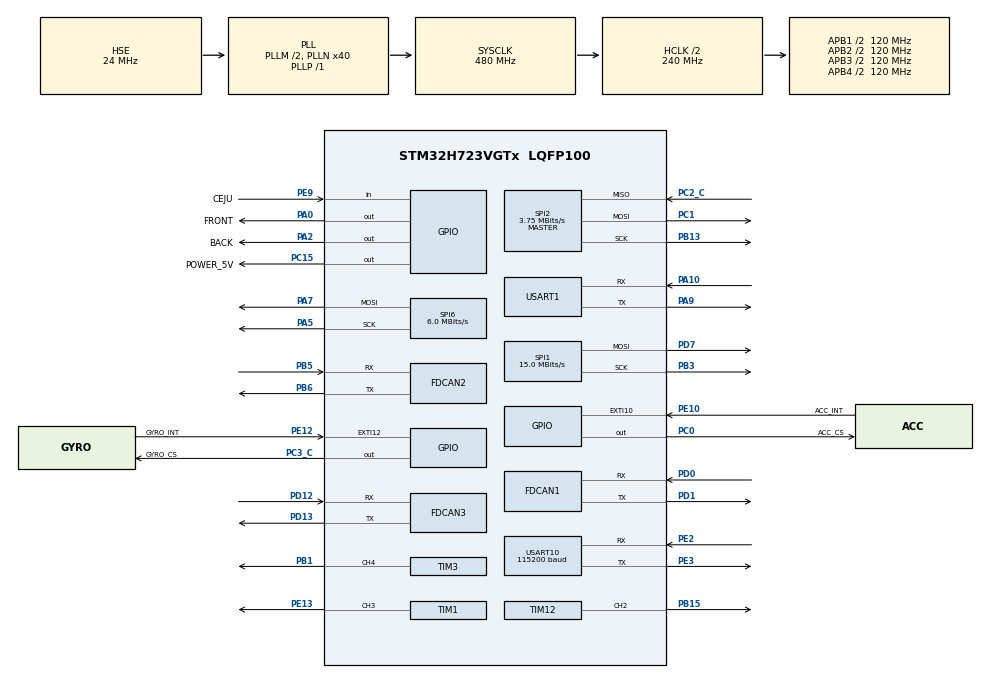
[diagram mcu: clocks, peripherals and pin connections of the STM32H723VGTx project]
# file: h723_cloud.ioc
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CORTEX_M7.default_mode_Activation=0
Dma.Request0=USART10_TX
Dma.Request1=USART1_RX
Dma.Request2=USART1_TX
Dma.Request3=SPI2_RX
Dma.Request4=SPI2_TX
Dma.SPI2_RX.3.Direction=DMA_PERIPH_TO_MEMORY
Dma.SPI2_RX.3.EventEnable=DISABLE
Dma.SPI2_RX.3.FIFOMode=DMA_FIFOMODE_DISABLE
Dma.SPI2_RX.3.Instance=DMA1_Stream2
Dma.SPI2_RX.3.MemDataAlignment=DMA_MDATAALIGN_BYTE
Dma.SPI2_RX.3.MemInc=DMA_MINC_ENABLE
Dma.SPI2_RX.3.Mode=DMA_NORMAL
Dma.SPI2_RX.3.PeriphDataAlignment=DMA_PDATAALIGN_BYTE
Dma.SPI2_RX.3.PeriphInc=DMA_PINC_DISABLE
Dma.SPI2_RX.3.Polarity=HAL_DMAMUX_REQ_GEN_RISING
Dma.SPI2_RX.3.Priority=DMA_PRIORITY_VERY_HIGH
Dma.SPI2_RX.3.RequestNumber=1
Dma.SPI2_RX.3.SignalID=NONE
Dma.SPI2_RX.3.SyncEnable=DISABLE
Dma.SPI2_RX.3.SyncPolarity=HAL_DMAMUX_SYNC_NO_EVENT
Dma.SPI2_RX.3.SyncRequestNumber=1
Dma.SPI2_RX.3.SyncSignalID=NONE
Dma.SPI2_TX.4.Direction=DMA_MEMORY_TO_PERIPH
Dma.SPI2_TX.4.EventEnable=DISABLE
Dma.SPI2_TX.4.FIFOMode=DMA_FIFOMODE_DISABLE
Dma.SPI2_TX.4.Instance=DMA1_Stream0
Dma.SPI2_TX.4.MemDataAlignment=DMA_MDATAALIGN_BYTE
Dma.SPI2_TX.4.MemInc=DMA_MINC_ENABLE
Dma.SPI2_TX.4.Mode=DMA_NORMAL
Dma.SPI2_TX.4.PeriphDataAlignment=DMA_PDATAALIGN_BYTE
Dma.SPI2_TX.4.PeriphInc=DMA_PINC_DISABLE
Dma.SPI2_TX.4.Polarity=HAL_DMAMUX_REQ_GEN_RISING
Dma.SPI2_TX.4.Priority=DMA_PRIORITY_HIGH
Dma.SPI2_TX.4.RequestNumber=1
Dma.SPI2_TX.4.SignalID=NONE
Dma.SPI2_TX.4.SyncEnable=DISABLE
Dma.SPI2_TX.4.SyncPolarity=HAL_DMAMUX_SYNC_NO_EVENT
Dma.SPI2_TX.4.SyncRequestNumber=1
Dma.SPI2_TX.4.SyncSignalID=NONE
Dma.USART10_TX.0.Direction=DMA_MEMORY_TO_PERIPH
Dma.USART10_TX.0.EventEnable=DISABLE
Dma.USART10_TX.0.FIFOMode=DMA_FIFOMODE_DISABLE
Dma.USART10_TX.0.Instance=DMA1_Stream3
Dma.USART10_TX.0.MemDataAlignment=DMA_MDATAALIGN_BYTE
Dma.USART10_TX.0.MemInc=DMA_MINC_ENABLE
Dma.USART10_TX.0.Mode=DMA_NORMAL
Dma.USART10_TX.0.PeriphDataAlignment=DMA_PDATAALIGN_BYTE
Dma.USART10_TX.0.PeriphInc=DMA_PINC_DISABLE
Dma.USART10_TX.0.Polarity=HAL_DMAMUX_REQ_GEN_RISING
Dma.USART10_TX.0.Priority=DMA_PRIORITY_LOW
Dma.USART10_TX.0.RequestNumber=1
Dma.USART10_TX.0.SignalID=NONE
Dma.USART10_TX.0.SyncEnable=DISABLE
Dma.USART10_TX.0.SyncPolarity=HAL_DMAMUX_SYNC_NO_EVENT
Dma.USART10_TX.0.SyncRequestNumber=1
Dma.USART10_TX.0.SyncSignalID=NONE
Dma.USART1_RX.1.Direction=DMA_PERIPH_TO_MEMORY
Dma.USART1_RX.1.EventEnable=DISABLE
Dma.USART1_RX.1.FIFOMode=DMA_FIFOMODE_DISABLE
Dma.USART1_RX.1.Instance=DMA1_Stream4
Dma.USART1_RX.1.MemDataAlignment=DMA_MDATAALIGN_BYTE
Dma.USART1_RX.1.MemInc=DMA_MINC_ENABLE
Dma.USART1_RX.1.Mode=DMA_CIRCULAR
Dma.USART1_RX.1.PeriphDataAlignment=DMA_PDATAALIGN_BYTE
Dma.USART1_RX.1.PeriphInc=DMA_PINC_DISABLE
Dma.USART1_RX.1.Polarity=HAL_DMAMUX_REQ_GEN_RISING
Dma.USART1_RX.1.Priority=DMA_PRIORITY_VERY_HIGH
Dma.USART1_RX.1.RequestNumber=1
Dma.USART1_RX.1.SignalID=NONE
Dma.USART1_RX.1.SyncEnable=DISABLE
Dma.USART1_RX.1.SyncPolarity=HAL_DMAMUX_SYNC_NO_EVENT
Dma.USART1_RX.1.SyncRequestNumber=1
Dma.USART1_RX.1.SyncSignalID=NONE
Dma.USART1_TX.2.Direction=DMA_MEMORY_TO_PERIPH
Dma.USART1_TX.2.EventEnable=DISABLE
Dma.USART1_TX.2.FIFOMode=DMA_FIFOMODE_DISABLE
Dma.USART1_TX.2.Instance=DMA1_Stream1
Dma.USART1_TX.2.MemDataAlignment=DMA_MDATAALIGN_BYTE
Dma.USART1_TX.2.MemInc=DMA_MINC_ENABLE
Dma.USART1_TX.2.Mode=DMA_NORMAL
Dma.USART1_TX.2.PeriphDataAlignment=DMA_PDATAALIGN_BYTE
Dma.USART1_TX.2.PeriphInc=DMA_PINC_DISABLE
Dma.USART1_TX.2.Polarity=HAL_DMAMUX_REQ_GEN_RISING
Dma.USART1_TX.2.Priority=DMA_PRIORITY_HIGH
Dma.USART1_TX.2.RequestNumber=1
Dma.USART1_TX.2.SignalID=NONE
Dma.USART1_TX.2.SyncEnable=DISABLE
Dma.USART1_TX.2.SyncPolarity=HAL_DMAMUX_SYNC_NO_EVENT
Dma.USART1_TX.2.SyncRequestNumber=1
Dma.USART1_TX.2.SyncSignalID=NONE
FDCAN1.AutoRetransmission=ENABLE
FDCAN1.CalculateBaudRateNominal=999999
FDCAN1.CalculateTimeBitNominal=1000
FDCAN1.CalculateTimeQuantumNominal=83.33333333333334
FDCAN1.NominalPrescaler=10
FDCAN1.NominalTimeSeg1=8
FDCAN1.NominalTimeSeg2=3
FDCAN1.RxFifo0ElmtsNbr=32
FDCAN1.StdFiltersNbr=1
FDCAN1.TxFifoQueueElmtsNbr=32
FDCAN1.TxFifoQueueMode=FDCAN_TX_FIFO_OPERATION
FDCAN2.CalculateBaudRateNominal=999999
FDCAN2.CalculateTimeBitNominal=1000
FDCAN2.CalculateTimeQuantumNominal=83.33333333333334
FDCAN2.MessageRAMOffset=1024
FDCAN2.NominalPrescaler=10
FDCAN2.NominalTimeSeg1=8
FDCAN2.NominalTimeSeg2=3
FDCAN2.RxFifo0ElmtsNbr=32
FDCAN2.StdFiltersNbr=1
FDCAN2.TxFifoQueueElmtsNbr=32
FDCAN3.CalculateBaudRateNominal=999999
FDCAN3.CalculateTimeBitNominal=1000
FDCAN3.CalculateTimeQuantumNominal=83.33333333333334
FDCAN3.MessageRAMOffset=2048
FDCAN3.NominalPrescaler=10
FDCAN3.NominalTimeSeg1=8
FDCAN3.NominalTimeSeg2=3
FDCAN3.RxFifo0ElmtsNbr=32
FDCAN3.StdFiltersNbr=1
FDCAN3.TxFifoQueueElmtsNbr=32
FREERTOS.BinarySemaphores01=anoTxSem,Dynamic,NULL;refereeUnpackSem,Dynamic,NULL
FREERTOS.INCLUDE_eTaskGetState=1
FREERTOS.INCLUDE_pcTaskGetTaskName=1
FREERTOS.INCLUDE_uxTaskGetStackHighWaterMark=1
FREERTOS.INCLUDE_uxTaskGetStackHighWaterMark2=0
FREERTOS.INCLUDE_vTaskCleanUpResources=1
FREERTOS.INCLUDE_vTaskDelayUntil=1
FREERTOS.INCLUDE_xEventGroupSetBitFromISR=1
FREERTOS.INCLUDE_xQueueGetMutexHolder=1
FREERTOS.INCLUDE_xSemaphoreGetMutexHolder=1
FREERTOS.INCLUDE_xTaskAbortDelay=1
FREERTOS.INCLUDE_xTaskGetCurrentTaskHandle=1
FREERTOS.INCLUDE_xTaskGetHandle=1
FREERTOS.INCLUDE_xTimerPendFunctionCall=1
FREERTOS.MEMORY_ALLOCATION=2
FREERTOS.Queues01=canRxQueue,20,12,1,Dynamic,NULL,NULL;anoPrintQueue,10,44,1,Dynamic,NULL,NULL
FREERTOS.Tasks01=All_Init,49,256,All_Init_Run,Default,NULL,Dynamic,NULL,NULL;Chassis_Task,48,2048,Chassis_Control_task,As external,NULL,Dynamic,NULL,NULL;CanDecodeTask,40,512,Can_Decode_Task,As external,NULL,Dynamic,NULL,NULL;AnoPrintTask,9,256,Print_Task,As external,NULL,Dynamic,NULL,NULL;SuperCapTask,15,512,SuperCap_Task,As external,NULL,Dynamic,NULL,NULL;DeviceTask,8,128,Device_Task,Default,NULL,Dynamic,NULL,NULL;INSTask,12,512,IMU_task,As external,NULL,Static,IMU_Buffer,IMUControlBlock;UITask,13,512,Client_UI_Task,As external,NULL,Dynamic,NULL,NULL;PrintEntryTask,9,512,Print_Entry_Task,As external,NULL,Dynamic,NULL,NULL;MonitorTask,11,256,Monitor_Task,As external,NULL,Dynamic,NULL,NULL
FREERTOS.configTOTAL_HEAP_SIZE=49152
FREERTOS.configUSE_TIMERS=1
Mcu.Family=STM32H7
Mcu.Name=STM32H723VGTx
Mcu.Package=LQFP100
NVIC.DMA1_Stream0_IRQn=true\:5\:0\:false\:false\:true\:true\:false\:true\:true
NVIC.DMA1_Stream1_IRQn=true\:5\:0\:false\:false\:true\:true\:false\:true\:true
NVIC.DMA1_Stream2_IRQn=true\:5\:0\:false\:false\:true\:true\:false\:true\:true
NVIC.DMA1_Stream3_IRQn=true\:5\:0\:false\:false\:true\:true\:false\:true\:true
NVIC.DMA1_Stream4_IRQn=true\:5\:0\:false\:false\:true\:true\:false\:true\:true
NVIC.FDCAN1_IT0_IRQn=true\:5\:0\:false\:false\:true\:true\:true\:true\:true
NVIC.FDCAN2_IT0_IRQn=true\:5\:0\:false\:false\:true\:true\:true\:true\:true
NVIC.FDCAN3_IT0_IRQn=true\:5\:0\:false\:false\:true\:true\:true\:true\:true
NVIC.PriorityGroup=NVIC_PRIORITYGROUP_4
NVIC.SPI2_IRQn=true\:5\:0\:false\:false\:true\:true\:false\:true\:true
NVIC.TIM6_DAC_IRQn=true\:15\:0\:false\:false\:true\:false\:false\:true\:true
NVIC.TimeBase=TIM6_DAC_IRQn
NVIC.TimeBaseIP=TIM6
NVIC.USART10_IRQn=true\:15\:0\:true\:false\:true\:true\:true\:true\:true
NVIC.USART1_IRQn=true\:5\:0\:false\:false\:true\:true\:true\:true\:true
PA0.GPIO_Label=FRONT
PA0.GPIO_PuPd=GPIO_PULLUP
PA0.GPIO_Speed=GPIO_SPEED_FREQ_VERY_HIGH
PA0.Signal=GPIO_Output
PA10.GPIO_Speed=GPIO_SPEED_FREQ_VERY_HIGH
PA10.Mode=Asynchronous
PA10.Signal=USART1_RX
PA13(JTMS/SWDIO).Mode=Serial_Wire
PA13(JTMS/SWDIO).Signal=DEBUG_JTMS-SWDIO
PA14(JTCK/SWCLK).Mode=Serial_Wire
PA14(JTCK/SWCLK).Signal=DEBUG_JTCK-SWCLK
PA2.GPIO_Label=BACK
PA2.GPIO_PuPd=GPIO_PULLUP
PA2.GPIO_Speed=GPIO_SPEED_FREQ_VERY_HIGH
PA2.Signal=GPIO_Output
PA5.Mode=TX_Only_Simplex_Unidirect_Master
PA5.Signal=SPI6_SCK
PA7.Mode=TX_Only_Simplex_Unidirect_Master
PA7.Signal=SPI6_MOSI
PA9.GPIO_Speed=GPIO_SPEED_FREQ_VERY_HIGH
PA9.Mode=Asynchronous
PA9.Signal=USART1_TX
PB1.Signal=S_TIM3_CH4
PB13.GPIO_Speed=GPIO_SPEED_FREQ_VERY_HIGH
PB13.Mode=Full_Duplex_Master
PB13.Signal=SPI2_SCK
PB15.Signal=S_TIM12_CH2
PB3(JTDO/TRACESWO).Mode=TX_Only_Simplex_Unidirect_Master
PB3(JTDO/TRACESWO).Signal=SPI1_SCK
PB5.GPIO_Speed=GPIO_SPEED_FREQ_VERY_HIGH
PB5.Mode=FDCAN_Activate
PB5.Signal=FDCAN2_RX
PB6.GPIO_Speed=GPIO_SPEED_FREQ_VERY_HIGH
PB6.Mode=FDCAN_Activate
PB6.Signal=FDCAN2_TX
PC0.GPIO_Label=ACC_CS
PC0.GPIO_Speed=GPIO_SPEED_FREQ_VERY_HIGH
PC0.PinState=GPIO_PIN_SET
PC0.Signal=GPIO_Output
PC1.GPIO_Speed=GPIO_SPEED_FREQ_VERY_HIGH
PC1.Mode=Full_Duplex_Master
PC1.Signal=SPI2_MOSI
PC15-OSC32_OUT.GPIO_Label=POWER_5V
PC15-OSC32_OUT.PinState=GPIO_PIN_SET
PC15-OSC32_OUT.Signal=GPIO_Output
PC2_C.GPIO_Speed=GPIO_SPEED_FREQ_VERY_HIGH
PC2_C.Mode=Full_Duplex_Master
PC2_C.Signal=SPI2_MISO
PC3_C.GPIO_Label=GYRO_CS
PC3_C.GPIO_Speed=GPIO_SPEED_FREQ_VERY_HIGH
PC3_C.PinState=GPIO_PIN_SET
PC3_C.Signal=GPIO_Output
PD0.GPIO_Speed=GPIO_SPEED_FREQ_VERY_HIGH
PD0.Mode=FDCAN_Activate
PD0.Signal=FDCAN1_RX
PD1.GPIO_Speed=GPIO_SPEED_FREQ_VERY_HIGH
PD1.Mode=FDCAN_Activate
PD1.Signal=FDCAN1_TX
PD12.GPIO_Speed=GPIO_SPEED_FREQ_VERY_HIGH
PD12.Mode=FDCAN_Activate
PD12.Signal=FDCAN3_RX
PD13.GPIO_Speed=GPIO_SPEED_FREQ_VERY_HIGH
PD13.Mode=FDCAN_Activate
PD13.Signal=FDCAN3_TX
PD2.Signal=UART5_RX
PD7.Mode=TX_Only_Simplex_Unidirect_Master
PD7.Signal=SPI1_MOSI
PE10.GPIO_Label=ACC_INT
PE10.Signal=GPXTI10
PE12.GPIO_Label=GYRO_INT
PE12.Signal=GPXTI12
PE13.GPIO_PuPd=GPIO_PULLUP
PE13.GPIO_Speed=GPIO_SPEED_FREQ_VERY_HIGH
PE13.Signal=S_TIM1_CH3
PE2.GPIO_Speed=GPIO_SPEED_FREQ_VERY_HIGH
PE2.Mode=Asynchronous
PE2.Signal=USART10_RX
PE3.GPIO_Speed=GPIO_SPEED_FREQ_VERY_HIGH
PE3.Mode=Asynchronous
PE3.Signal=USART10_TX
PE9.GPIO_Label=CEJU
PE9.GPIO_PuPd=GPIO_PULLUP
PE9.Signal=GPIO_Input
PH0-OSC_IN.Mode=HSE-External-Oscillator
PH0-OSC_IN.Signal=RCC_OSC_IN
PH1-OSC_OUT.Mode=HSE-External-Oscillator
PH1-OSC_OUT.Signal=RCC_OSC_OUT
ProjectManager.HeapSize=0x2000
ProjectManager.StackSize=0x2000
ProjectManager.TargetToolchain=MDK-ARM V5.32
RCC.ADCFreq_Value=48375000
RCC.APB1Freq_Value=120000000
RCC.APB2Freq_Value=120000000
RCC.APB3Freq_Value=120000000
RCC.APB4Freq_Value=120000000
RCC.CortexFreq_Value=480000000
RCC.D1PPRE=RCC_APB3_DIV2
RCC.D2PPRE1=RCC_APB1_DIV2
RCC.D2PPRE2=RCC_APB2_DIV2
RCC.D3PPRE=RCC_APB4_DIV2
RCC.DIVM1=2
RCC.DIVN1=40
RCC.DIVP1=1
RCC.DIVQ1=4
RCC.HCLKFreq_Value=240000000
RCC.HPRE=RCC_HCLK_DIV2
RCC.HSE_VALUE=24000000
RCC.PLLSourceVirtual=RCC_PLLSOURCE_HSE
RCC.SPI6CLockSelection=RCC_SPI6CLKSOURCE_HSE
RCC.SYSCLKFreq_VALUE=480000000
RCC.SYSCLKSource=RCC_SYSCLKSOURCE_PLLCLK
RCC.USBFreq_Value=120000000
SH.S_TIM12_CH2.0=TIM12_CH2,PWM Generation2 CH2
SH.S_TIM1_CH3.0=TIM1_CH3,PWM Generation3 CH3
SH.S_TIM3_CH4.0=TIM3_CH4,PWM Generation4 CH4
SPI1.BaudRatePrescaler=SPI_BAUDRATEPRESCALER_8
SPI1.CLKPolarity=SPI_POLARITY_HIGH
SPI1.CalculateBaudRate=15.0 MBits/s
SPI1.DataSize=SPI_DATASIZE_8BIT
SPI1.Direction=SPI_DIRECTION_2LINES_TXONLY
SPI1.Mode=SPI_MODE_MASTER
SPI1.VirtualType=VM_MASTER
SPI2.BaudRatePrescaler=SPI_BAUDRATEPRESCALER_32
SPI2.CLKPhase=SPI_PHASE_2EDGE
SPI2.CLKPolarity=SPI_POLARITY_HIGH
SPI2.CalculateBaudRate=3.75 MBits/s
SPI2.DataSize=SPI_DATASIZE_8BIT
SPI2.Direction=SPI_DIRECTION_2LINES
SPI2.Mode=SPI_MODE_MASTER
SPI2.VirtualType=VM_MASTER
SPI6.BaudRatePrescaler=SPI_BAUDRATEPRESCALER_4
SPI6.CLKPhase=SPI_PHASE_2EDGE
SPI6.CalculateBaudRate=6.0 MBits/s
SPI6.DataSize=SPI_DATASIZE_8BIT
SPI6.Direction=SPI_DIRECTION_2LINES_TXONLY
SPI6.Mode=SPI_MODE_MASTER
SPI6.VirtualType=VM_MASTER
TIM1.Channel-PWM\ Generation3\ CH3=TIM_CHANNEL_3
TIM1.Period=1000-1
TIM1.Prescaler=192-1
TIM12.Channel-PWM\ Generation2\ CH2=TIM_CHANNEL_2
TIM12.Period=2000-1
TIM12.Prescaler=48-1
TIM3.AutoReloadPreload=TIM_AUTORELOAD_PRELOAD_ENABLE
TIM3.Channel-PWM\ Generation4\ CH4=TIM_CHANNEL_4
TIM3.Period=10000-1
TIM3.Prescaler=24-1
USART1.VirtualMode-Asynchronous=VM_ASYNC
USART10.BaudRate=115200
USART10.VirtualMode=VM_ASYNC
VP_FREERTOS_VS_CMSIS_V2.Mode=CMSIS_V2
VP_SYS_VS_tim6.Mode=TIM6
VP_TIM1_VS_ClockSourceINT.Mode=Internal
board=custom

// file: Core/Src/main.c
/* USER CODE BEGIN Header */
/**
  ******************************************************************************
  * @file           : main.c
  * @brief          : Main program body
  ******************************************************************************
  * @attention
  *
  * Copyright (c) 2024 STMicroelectronics.
  * All rights reserved.
  *
  * This software is licensed under terms that can be found in the LICENSE file
  * in the root directory of this software component.
  * If no LICENSE file comes with this software, it is provided AS-IS.
  *
  ******************************************************************************
  */
/* USER CODE END Header */
#include "main.h"
#include "cmsis_os.h"
#include "dma.h"
#include "fdcan.h"
#include "spi.h"
#include "tim.h"
#include "usart.h"
#include "gpio.h"

void SystemClock_Config(void);
void MX_FREERTOS_Init(void);

int main(void)
{

  /* MCU Configuration--------------------------------------------------------*/

  /* Reset of all peripherals, Initializes the Flash interface and the Systick. */
  HAL_Init();

  /* Configure the system clock */
  SystemClock_Config();

  /* Initialize all configured peripherals */
  MX_GPIO_Init();
  MX_DMA_Init();
  MX_FDCAN2_Init();
  MX_FDCAN3_Init();
  MX_FDCAN1_Init();
  MX_USART10_UART_Init();
  MX_USART1_UART_Init();
  MX_SPI6_Init();
  MX_SPI1_Init();
  MX_SPI2_Init();
  MX_TIM3_Init();
  MX_TIM12_Init();
  MX_TIM1_Init();

  /* Init scheduler */
  osKernelInitialize();  /* Call init function for freertos objects (in freertos.c) */
  MX_FREERTOS_Init();

  /* Start scheduler */
  osKernelStart();
  /* We should never get here as control is now taken by the scheduler */
  /* Infinite loop */
  while (1)
  {

  }
}

void SystemClock_Config(void)
{
  RCC_OscInitTypeDef RCC_OscInitStruct = {0};
  RCC_ClkInitTypeDef RCC_ClkInitStruct = {0};

  /** Supply configuration update enable
  */
  HAL_PWREx_ConfigSupply(PWR_LDO_SUPPLY);

  /** Configure the main internal regulator output voltage
  */
  __HAL_PWR_VOLTAGESCALING_CONFIG(PWR_REGULATOR_VOLTAGE_SCALE0);

  while(!__HAL_PWR_GET_FLAG(PWR_FLAG_VOSRDY)) {}

  /** Initializes the RCC Oscillators according to the specified parameters
  * in the RCC_OscInitTypeDef structure.
  */
  RCC_OscInitStruct.OscillatorType = RCC_OSCILLATORTYPE_HSE;
  RCC_OscInitStruct.HSEState = RCC_HSE_ON;
  RCC_OscInitStruct.PLL.PLLState = RCC_PLL_ON;
  RCC_OscInitStruct.PLL.PLLSource = RCC_PLLSOURCE_HSE;
  RCC_OscInitStruct.PLL.PLLM = 2;
  RCC_OscInitStruct.PLL.PLLN = 40;
  RCC_OscInitStruct.PLL.PLLP = 1;
  RCC_OscInitStruct.PLL.PLLQ = 4;
  RCC_OscInitStruct.PLL.PLLR = 2;
  RCC_OscInitStruct.PLL.PLLRGE = RCC_PLL1VCIRANGE_3;
  RCC_OscInitStruct.PLL.PLLVCOSEL = RCC_PLL1VCOWIDE;
  RCC_OscInitStruct.PLL.PLLFRACN = 0;
  if (HAL_RCC_OscConfig(&RCC_OscInitStruct) != HAL_OK)
  {
    Error_Handler();
  }

  /** Initializes the CPU, AHB and APB buses clocks
  */
  RCC_ClkInitStruct.ClockType = RCC_CLOCKTYPE_HCLK|RCC_CLOCKTYPE_SYSCLK
                              |RCC_CLOCKTYPE_PCLK1|RCC_CLOCKTYPE_PCLK2
                              |RCC_CLOCKTYPE_D3PCLK1|RCC_CLOCKTYPE_D1PCLK1;
  RCC_ClkInitStruct.SYSCLKSource = RCC_SYSCLKSOURCE_PLLCLK;
  RCC_ClkInitStruct.SYSCLKDivider = RCC_SYSCLK_DIV1;
  RCC_ClkInitStruct.AHBCLKDivider = RCC_HCLK_DIV2;
  RCC_ClkInitStruct.APB3CLKDivider = RCC_APB3_DIV2;
  RCC_ClkInitStruct.APB1CLKDivider = RCC_APB1_DIV2;
  RCC_ClkInitStruct.APB2CLKDivider = RCC_APB2_DIV2;
  RCC_ClkInitStruct.APB4CLKDivider = RCC_APB4_DIV2;

  if (HAL_RCC_ClockConfig(&RCC_ClkInitStruct, FLASH_LATENCY_3) != HAL_OK)
  {
    Error_Handler();
  }
}

void HAL_TIM_PeriodElapsedCallback(TIM_HandleTypeDef *htim)
{
  if (htim->Instance == TIM6) {
    HAL_IncTick();
  }
}

void Error_Handler(void)
{
  __disable_irq();
  while (1)
  {
  }
}

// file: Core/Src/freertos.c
/* USER CODE BEGIN Header */
/**
  ******************************************************************************
  * File Name          : freertos.c
  * Description        : Code for freertos applications
  ******************************************************************************
  * @attention
  *
  * Copyright (c) 2025 STMicroelectronics.
  * All rights reserved.
  *
  * This software is licensed under terms that can be found in the LICENSE file
  * in the root directory of this software component.
  * If no LICENSE file comes with this software, it is provided AS-IS.
  *
  ******************************************************************************
  */
/* USER CODE END Header */

#include "FreeRTOS.h"
#include "task.h"
#include "main.h"
#include "cmsis_os.h"

/* USER CODE BEGIN Includes */
#include "cmsis_os2.h"

#include "bsp_power_meter.h"
#include "bsp_can.h"
#include "bsp_SuperCap.h"
#include "supercap_task.h"
#include "RM_JudgeSystem.h"
#include "bsp_ano_protocol.h"
#include "device_task.h"
#include "can_task.h"
#include "robot_control.h"
#include "control_task.h"
#include "print_task.h"
#include "monitor_task.h"
#include "INS_task.h"
#include "UI_task.h"
#include "tim.h"
//#include "math.h"

/* USER CODE END Includes */

typedef StaticTask_t osStaticThreadDef_t;

/* USER CODE BEGIN Variables */

///* USER CODE END Variables */
/* Definitions for All_Init */
osThreadId_t All_InitHandle;
const osThreadAttr_t All_Init_attributes = {
  .name = "All_Init",
  .stack_size = 256 * 4,
  .priority = (osPriority_t) osPriorityRealtime1,
};
/* Definitions for Chassis_Task */
osThreadId_t Chassis_TaskHandle;
const osThreadAttr_t Chassis_Task_attributes = {
  .name = "Chassis_Task",
  .stack_size = 2048 * 4,
  .priority = (osPriority_t) osPriorityRealtime,
};
/* Definitions for CanDecodeTask */
osThreadId_t CanDecodeTaskHandle;
const osThreadAttr_t CanDecodeTask_attributes = {
  .name = "CanDecodeTask",
  .stack_size = 1024 * 4,
  .priority = (osPriority_t) osPriorityHigh,
};
/* Definitions for AnoPrintTask */
osThreadId_t AnoPrintTaskHandle;
const osThreadAttr_t AnoPrintTask_attributes = {
  .name = "AnoPrintTask",
  .stack_size = 256 * 4,
  .priority = (osPriority_t) osPriorityLow1,
};
/* Definitions for SuperCapTask */
osThreadId_t SuperCapTaskHandle;
const osThreadAttr_t SuperCapTask_attributes = {
  .name = "SuperCapTask",
  .stack_size = 512 * 4,
  .priority = (osPriority_t) osPriorityLow7,
};
/* Definitions for DeviceTask */
osThreadId_t DeviceTaskHandle;
const osThreadAttr_t DeviceTask_attributes = {
  .name = "DeviceTask",
  .stack_size = 128 * 4,
  .priority = (osPriority_t) osPriorityLow,
};
/* Definitions for INSTask */
osThreadId_t INSTaskHandle;
uint32_t IMU_Buffer[ 512 ];
osStaticThreadDef_t IMUControlBlock;
const osThreadAttr_t INSTask_attributes = {
  .name = "INSTask",
  .cb_mem = &IMUControlBlock,
  .cb_size = sizeof(IMUControlBlock),
  .stack_mem = &IMU_Buffer[0],
  .stack_size = sizeof(IMU_Buffer),
  .priority = (osPriority_t) osPriorityLow4,
};
/* Definitions for UITask */
osThreadId_t UITaskHandle;
const osThreadAttr_t UITask_attributes = {
  .name = "UITask",
  .stack_size = 512 * 4,
  .priority = (osPriority_t) osPriorityLow5,
};
/* Definitions for PrintEntryTask */
osThreadId_t PrintEntryTaskHandle;
const osThreadAttr_t PrintEntryTask_attributes = {
  .name = "PrintEntryTask",
  .stack_size = 512 * 4,
  .priority = (osPriority_t) osPriorityLow1,
};
/* Definitions for MonitorTask */
osThreadId_t MonitorTaskHandle;
const osThreadAttr_t MonitorTask_attributes = {
  .name = "MonitorTask",
  .stack_size = 256 * 4,
  .priority = (osPriority_t) osPriorityLow3,
};
/* Definitions for canRxQueue */
osMessageQueueId_t canRxQueueHandle;
const osMessageQueueAttr_t canRxQueue_attributes = {
  .name = "canRxQueue"
};
/* Definitions for anoPrintQueue */
osMessageQueueId_t anoPrintQueueHandle;
const osMessageQueueAttr_t anoPrintQueue_attributes = {
  .name = "anoPrintQueue"
};
/* Definitions for anoTxSem */
osSemaphoreId_t anoTxSemHandle;
const osSemaphoreAttr_t anoTxSem_attributes = {
  .name = "anoTxSem"
};

void All_Init_Run(void *argument);
extern void Print_Task(void *argument);
void Device_Task(void *argument);

void MX_FREERTOS_Init(void); /* (MISRA C 2004 rule 8.1) */

void MX_FREERTOS_Init(void) {

  /* Create the semaphores(s) */
  /* creation of anoTxSem */
  anoTxSemHandle = osSemaphoreNew(1, 1, &anoTxSem_attributes);

  /* Create the queue(s) */
  /* creation of canRxQueue */
  canRxQueueHandle = osMessageQueueNew (20, sizeof(CAN_Rx_Message_t), &canRxQueue_attributes);

  /* creation of anoPrintQueue */
  anoPrintQueueHandle = osMessageQueueNew (10, sizeof(Print_Msg_t), &anoPrintQueue_attributes);

  /* Create the thread(s) */
  /* creation of All_Init */
  All_InitHandle = osThreadNew(All_Init_Run, NULL, &All_Init_attributes);

  /* creation of Chassis_Task */
  Chassis_TaskHandle = osThreadNew((osThreadFunc_t)Chassis_Control_task, NULL, &Chassis_Task_attributes);

  /* creation of CanDecodeTask */
  CanDecodeTaskHandle = osThreadNew((osThreadFunc_t)Can_Decode_Task, NULL, &CanDecodeTask_attributes);

  /* creation of AnoPrintTask */
  AnoPrintTaskHandle = osThreadNew(Print_Task, NULL, &AnoPrintTask_attributes);

  /* creation of SuperCapTask */
  SuperCapTaskHandle = osThreadNew((osThreadFunc_t)SuperCap_Task, NULL, &SuperCapTask_attributes);

  /* creation of DeviceTask */
  DeviceTaskHandle = osThreadNew(Device_Task, NULL, &DeviceTask_attributes);

  /* creation of INSTask */
  INSTaskHandle = osThreadNew((osThreadFunc_t)IMU_task, NULL, &INSTask_attributes);

  /* creation of UITask */
  UITaskHandle = osThreadNew((osThreadFunc_t)Client_UI_Task, NULL, &UITask_attributes);

	/* creation of PrintEntryTask */
  PrintEntryTaskHandle = osThreadNew((osThreadFunc_t)Print_Entry_Task, NULL, &PrintEntryTask_attributes);

  /* creation of MonitorTask */
  MonitorTaskHandle = osThreadNew((osThreadFunc_t)Monitor_Task, NULL, &MonitorTask_attributes);

}

void All_Init_Run(void *argument)
{
  /* USER CODE BEGIN All_Init_Run */

	taskENTER_CRITICAL();  //�����ٽ���

	BSP_FDCAN_Config();

	HAL_TIM_PWM_Start(&htim1,TIM_CHANNEL_3);

	__HAL_TIM_SET_COMPARE(&htim1, TIM_CHANNEL_3,455);//������   pwm1=1     ����285   pwm6=3.5

	power_meter_init();

	JudgeSystem_Init(&huart1);
  extern volatile uint8_t init_finished;
  init_finished = 1;

	supercap_init();

	Robot_Param_Init();

	taskEXIT_CRITICAL();   //�˳��ٽ���

	vTaskDelete(NULL);
  /* USER CODE END All_Init_Run */
}

void Device_Task(void *argument)
{
  /* USER CODE BEGIN Device_Task */
  /* Infinite loop */
  for(;;)
  {
    Device_task();
  }
  /* USER CODE END Device_Task */
}
